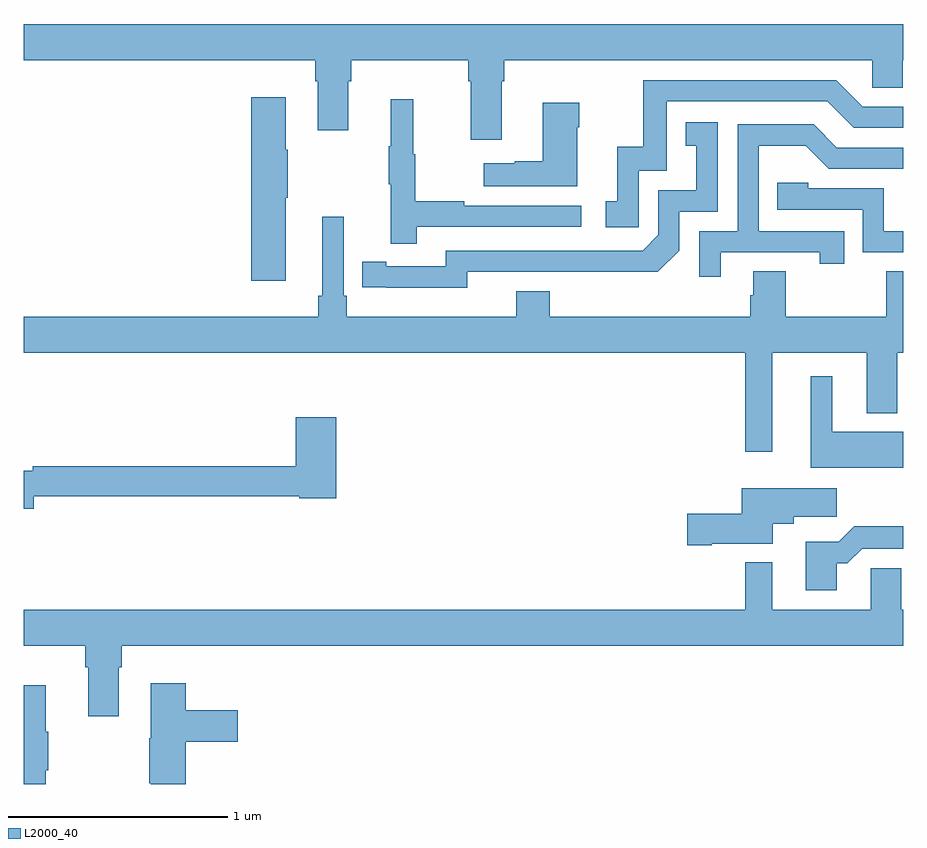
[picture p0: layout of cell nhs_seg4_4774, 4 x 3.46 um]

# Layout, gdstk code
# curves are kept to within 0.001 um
import gdstk
lib = gdstk.Library(unit=1e-6, precision=1e-09)
def P(c, l, *ps):  # polygons
    for p in ps: c.add(gdstk.Polygon(p, *l))
L2000_40 = (2000, 40)

nhs_seg4_4774 = lib.new_cell('nhs_seg4_4774')
P(nhs_seg4_4774, L2000_40, [(371.173,758.096),(371.186,758.096),(371.186,758.192),(372.858,758.192),(372.858,758.065),(372.997,758.065),(372.997,758.192),(373,758.192),(373,758.356),(369,758.356),(369,758.192),(370.325,758.192),(370.325,758.096),(370.337,758.096),(370.337,757.872),(370.477,757.872),(370.477,758.096),(370.49,758.096),(370.49,758.192),(371.021,758.192),(371.021,758.096),(371.033,758.096),(371.033,757.83),(371.173,757.83)],
  [(371.796,757.689),(371.925,757.689),(371.925,758.004),(372.654,758.004),(372.774,757.884),(373,757.884),(373,757.98),(372.816,757.98),(372.696,758.1),(371.817,758.1),(371.817,757.798),(371.699,757.798),(371.699,757.551),(371.646,757.551),(371.646,757.431),(371.796,757.431)],
  [(370.192,757.567),(370.2,757.567),(370.2,757.784),(370.192,757.784),(370.192,758.023),(370.034,758.023),(370.034,757.188),(370.192,757.188)],
  [(370.787,757.434),(371.536,757.434),(371.536,757.53),(371.003,757.53),(371.003,757.55),(370.78,757.55),(370.78,757.764),(370.772,757.764),(370.772,758.014),(370.67,758.014),(370.67,757.801),(370.659,757.801),(370.659,757.627),(370.67,757.627),(370.67,757.356),(370.787,757.356)],
  [(371.518,757.886),(371.526,757.886),(371.526,757.999),(371.36,757.999),(371.36,757.733),(371.234,757.733),(371.234,757.723),(371.091,757.723),(371.091,757.619),(371.518,757.619)],
  [(371.016,757.23),(371.884,757.229),(371.982,757.326),(371.982,757.503),(372.156,757.503),(372.156,757.909),(372.01,757.909),(372.01,757.803),(372.059,757.803),(372.059,757.599),(371.886,757.599),(371.886,757.398),(371.814,757.326),(370.92,757.326),(370.92,757.254),(370.648,757.254),(370.648,757.274),(370.54,757.274),(370.54,757.158),(371.016,757.157)],
  [(372.169,757.317),(372.62,757.317),(372.62,757.266),(372.731,757.266),(372.731,757.413),(372.342,757.413),(372.342,757.802),(372.556,757.802),(372.66,757.698),(373,757.698),(373,757.794),(372.697,757.794),(372.592,757.899),(372.246,757.899),(372.246,757.413),(372.072,757.413),(372.072,757.206),(372.169,757.206)],
  [(373,757.413),(372.912,757.413),(372.912,757.608),(372.567,757.608),(372.567,757.635),(372.427,757.635),(372.427,757.512),(372.816,757.512),(372.816,757.317),(373,757.317)],
  [(372.403,756.86),(372.833,756.86),(372.833,756.587),(372.973,756.587),(372.973,756.86),(373,756.86),(373,757.232),(372.922,757.232),(372.922,757.024),(372.465,757.024),(372.465,757.232),(372.317,757.232),(372.317,757.122),(372.305,757.122),(372.305,757.024),(371.393,757.024),(371.393,757.141),(371.24,757.141),(371.24,757.024),(370.469,757.024),(370.469,757.12),(370.455,757.12),(370.455,757.48),(370.358,757.48),(370.358,757.12),(370.339,757.12),(370.339,757.024),(369,757.024),(369,756.86),(372.282,756.86),(372.282,756.411),(372.403,756.411)],
  [(373,756.502),(372.676,756.502),(372.676,756.754),(372.578,756.754),(372.578,756.338),(373,756.338)],
  [(369.046,756.208),(370.254,756.208),(370.254,756.2),(370.421,756.2),(370.421,756.568),(370.238,756.568),(370.238,756.344),(369.042,756.344),(369.042,756.325),(369,756.325),(369,756.151),(369.046,756.151)],
  [(372.13,755.993),(372.406,755.993),(372.406,756.083),(372.502,756.083),(372.502,756.115),(372.697,756.115),(372.697,756.244),(372.266,756.244),(372.266,756.128),(372.018,756.128),(372.018,755.986),(372.13,755.986)],
  [(372.697,755.903),(372.746,755.903),(372.813,755.97),(373,755.97),(373,756.071),(372.776,756.071),(372.706,756.001),(372.557,756.001),(372.557,755.781),(372.697,755.781)],
  [(369.433,755.432),(369.446,755.432),(369.446,755.528),(373,755.528),(373,755.692),(372.991,755.692),(372.991,755.882),(372.852,755.882),(372.852,755.692),(372.403,755.692),(372.403,755.908),(372.282,755.908),(372.282,755.692),(369,755.692),(369,755.528),(369.281,755.528),(369.281,755.432),(369.293,755.432),(369.293,755.208),(369.433,755.208)],
  [(369.737,755.093),(369.973,755.093),(369.973,755.235),(369.737,755.235),(369.737,755.359),(369.578,755.359),(369.578,755.109),(369.571,755.109),(369.571,754.903),(369.578,754.903),(369.578,754.9),(369.737,754.9)],
  [(369.101,754.963),(369.112,754.963),(369.112,755.137),(369.101,755.137),(369.101,755.35),(369,755.35),(369,754.9),(369.101,754.9)])

lib.write_gds('nhs_seg4_4774.gds')
